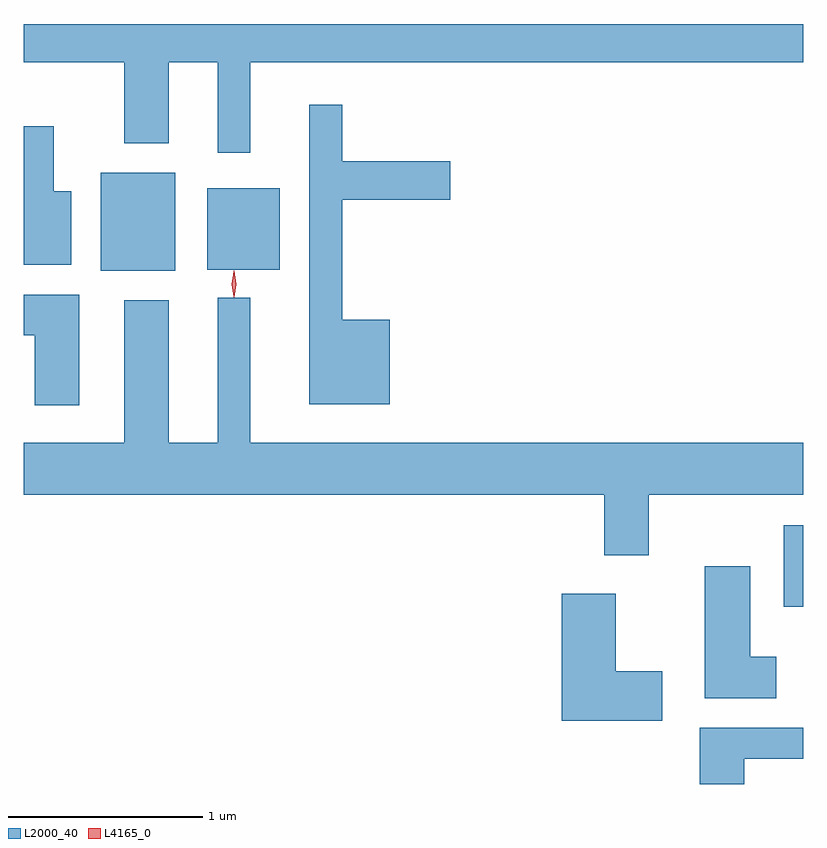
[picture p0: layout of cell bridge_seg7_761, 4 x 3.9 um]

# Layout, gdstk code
import gdstk
lib = gdstk.Library(unit=1e-6, precision=1e-09)
def R(c, l, rs):  # rectangles x0, y0, x1, y1
    for r in rs: c.add(gdstk.rectangle(r[:2], r[2:], *l))
def P(c, l, *ps):  # polygons
    for p in ps: c.add(gdstk.Polygon(p, *l))
L2000_40 = (2000, 40)
L4165_0 = (4165, 0)

bridge_seg7_761 = lib.new_cell('bridge_seg7_761')
R(bridge_seg7_761, L2000_40, [(259.326,1793.661,259.426,1794.079), (255.821,1795.386,256.204,1795.889), (256.366,1795.391,256.739,1795.809)])
P(bridge_seg7_761, L2000_40, [(256.589,1796.456),(259.426,1796.456),(259.426,1796.653),(255.426,1796.653),(255.426,1796.456),(255.941,1796.456),(255.941,1796.041),(256.169,1796.041),(256.169,1796.456),(256.421,1796.456),(256.421,1795.993),(256.589,1795.993)],
  [(257.304,1795.134),(257.059,1795.134),(257.059,1795.751),(257.614,1795.751),(257.614,1795.949),(257.059,1795.949),(257.059,1796.238),(256.891,1796.238),(256.891,1794.701),(257.304,1794.701)],
  [(255.669,1795.794),(255.579,1795.794),(255.579,1796.129),(255.426,1796.129),(255.426,1795.416),(255.669,1795.416)],
  [(255.709,1795.264),(255.426,1795.264),(255.426,1795.056),(255.481,1795.056),(255.481,1794.696),(255.709,1794.696)],
  [(258.634,1794.236),(259.426,1794.236),(259.426,1794.504),(256.589,1794.504),(256.589,1795.248),(256.421,1795.248),(256.421,1794.504),(256.169,1794.504),(256.169,1795.234),(255.941,1795.234),(255.941,1794.504),(255.426,1794.504),(255.426,1794.236),(258.406,1794.236),(258.406,1793.926),(258.634,1793.926)],
  [(259.289,1793.404),(259.154,1793.404),(259.154,1793.869),(258.921,1793.869),(258.921,1793.191),(259.289,1793.191)],
  [(258.704,1793.329),(258.464,1793.329),(258.464,1793.729),(258.186,1793.729),(258.186,1793.076),(258.704,1793.076)],
  [(259.124,1792.881),(259.426,1792.881),(259.426,1793.039),(258.896,1793.039),(258.896,1792.751),(259.124,1792.751)])
P(bridge_seg7_761, L4165_0, [(256.502,1795.253),(256.493,1795.318),(256.502,1795.381),(256.503,1795.382),(256.504,1795.381),(256.513,1795.318),(256.504,1795.253),(256.503,1795.253)],
  [(256.504,1795.25),(256.495,1795.318),(256.504,1795.386),(256.504,1795.386),(256.505,1795.386),(256.515,1795.318),(256.505,1795.25),(256.505,1795.25)])

lib.write_gds('bridge_seg7_761.gds')
